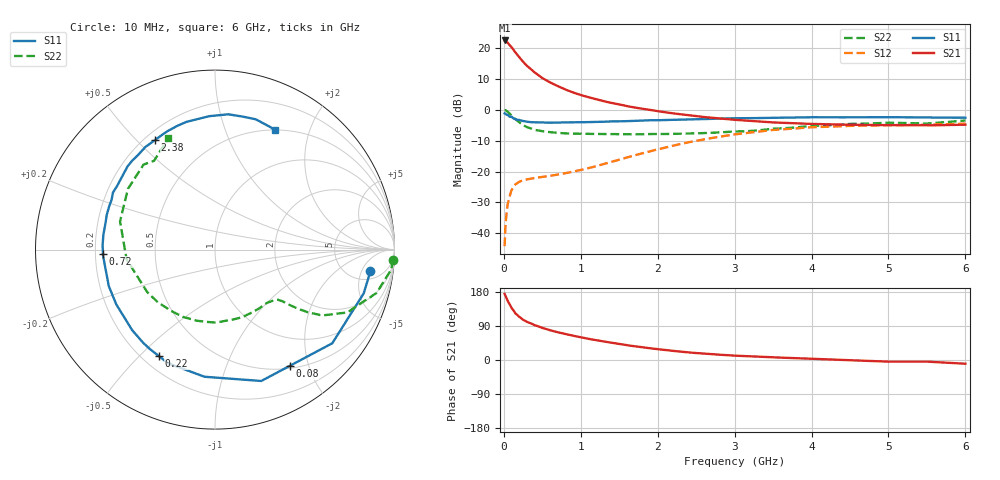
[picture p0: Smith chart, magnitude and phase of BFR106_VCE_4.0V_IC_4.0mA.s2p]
! Infineon Technologies  Discrete & RF Semiconductors
! BFR106
! VCE =  4.0 V,  IC =  4.0 mA
! Common Emitter S-Parameters:  Nov 2015
# GHz  S  MA  R  50
!  f  S11  S21  S12  S22
! GHz  MAG  ANG  MAG  ANG  MAG  ANG  MAG  ANG
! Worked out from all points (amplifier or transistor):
!   210 points, 10 MHz to 6 GHz, reference 50 ohm
!   highest |S21| = 22.5 dB at 10 MHz (marker M1)
!   |S21| within 3 dB of that: start of sweep to 124.2 MHz
!   unconditionally stable (mu >= 1): 668.3 MHz to 1.881 GHz; 4.508 GHz to end of sweep
!   at 185 MHz: K = 0.34, MSG = 20.5 dB, |S12| = -23.6 dB
!   at 1.52 GHz: K = 1.13, MAG = 6.7 dB, |S12| = -16.0 dB
!   at 6 GHz: K = 1.02, MAG = -1.1 dB, |S12| = -4.5 dB
!   S11 on the Smith chart (normalised r, x): 10 MHz: 7, -7; 80 MHz: 0.54, -1.70; 220 MHz: 0.27, -0.57; 720 MHz: 0.23, -0.02; 2.38 GHz: 0.24, +0.57; 6 GHz: 0.50, +1.50
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0.01  0.8742 -8.0  13.27 174.3  0.0062 85.9  0.9939 -3.2
0.02  0.8637 -16.4  13.15 170.1  0.0125 80.5  0.9879 -6.5
0.05  0.8363 -38.6  12.22 155.5  0.0295 70.4  0.9323 -15.0
0.08  0.77 -57.3  10.97 145.4  0.0416 60.5  0.8592 -20.9
0.1  0.7761 -70.6  10.36 137.5  0.0501 56.6  0.8162 -25.4
0.15  0.7108 -94.7  8.518 123.1  0.062 46.1  0.7024 -31.5
0.2  0.6854 -112.4  7.108 113.9  0.0684 41.1  0.6252 -34.0
0.22  0.6711 -117.6  6.644 111.1  0.07 39.4  0.6009 -34.6
0.26  0.6555 -127.7  5.817 105.0  0.073 36.9  0.5568 -35.7
0.3  0.6437 -135.8  5.162 100.6  0.0748 36.2  0.5256 -36.4
0.4  0.6291 -151.0  4.024 91.9  0.0788 35.7  0.4748 -37.4
0.5  0.6257 -161.1  3.267 84.7  0.0818 36.9  0.4488 -38.5
0.6  0.6189 -170.0  2.779 78.6  0.0852 39.1  0.4342 -40.4
0.72  0.6247 -177.9  2.361 72.4  0.0902 43.0  0.4219 -43.5
1.02  0.6278 166.1  1.706 59.1  0.1073 52.5  0.4101 -52.4
1.4  0.6513 150.8  1.289 45.6  0.1435 61.1  0.4053 -66.9
2.02  0.679 129.4  0.942 28.2  0.2322 62.6  0.4054 -95.4
2.38  0.6966 118.8  0.825 20.3  0.2944 58.9  0.4137 -114.4
3.1  0.7303 100.6  0.676 10.7  0.4131 45.8  0.4478 -153.3
4.1  0.7566 83.1  0.587 2.5  0.5264 25.2  0.555 159.6
5.1  0.7582 71.5  0.564 -4.3  0.5664 8.6  0.6145 128.9
6  0.7449 63.3  0.575 -9.8  0.5985 -2.6  0.6719 112.8
